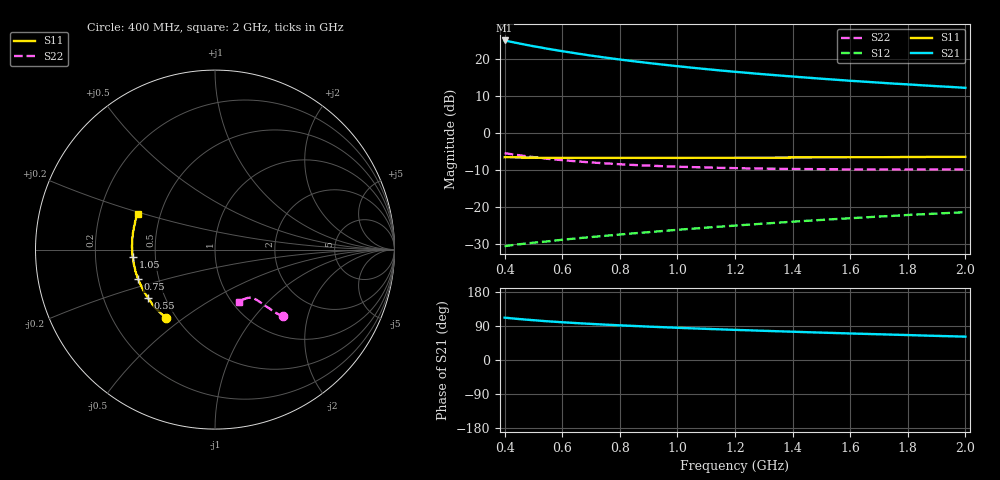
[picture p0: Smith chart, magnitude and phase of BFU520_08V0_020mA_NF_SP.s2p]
! Filename:  P:\Prog\Test\Noise\ATS_data\Testdata_Net\06 Compressed Noise after Statistics\BFU520_APG2013_37_A05_08p0V_020mA_NF_CM01_D.sf
! Date/Time: Fri 26/Apr/2013 14:13:13
! BFU520_APG2013_37_A05_08p0V_1to20mA_NF_CM01_Bias8_R.sf
! Noise Parameter Data File
! BFU520_APG2013_37_A05_08p0V_1to20mA_NF_CM01
! Date/time: Tue Apr 23 18:16:22 2013
! VAR V_out= 8.000000
! VAR I_out= 20.000000
! VAR V_in= 0.822000
! VAR I_in= 0.222650
! Device data file deembeded for feedlines and parallel
! Original file: \06 Compressed Noise after Statistics\BFU520_APG2013_37_A05_08p0V_020mA_NF_CM01_R.sf
! Feed-files: PR047V01_250413_Feed1.s2p, PR047V01_250413_Feed2.s2p
! Parallel-file: PR047V01_250413_Par.s2p
# MHz S MA R 50
!  Freq-MHz  S11-mag  S11-arg  S21-mag  S21-arg  S12-mag  S12-arg  S22-mag  S22-arg
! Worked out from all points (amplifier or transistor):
!   37 points, 400 MHz to 2 GHz, reference 50 ohm
!   highest |S21| = 25.0 dB at 400 MHz (marker M1)
!   |S21| within 3 dB of that: start of sweep to 608.5 MHz
!   unconditionally stable (mu >= 1): 1.379 GHz to end of sweep
!   at 500 MHz: K = 0.66, MSG = 26.6 dB, |S12| = -29.7 dB
!   at 1.1 GHz: K = 0.95, MSG = 21.4 dB, |S12| = -25.6 dB
!   at 2 GHz: K = 1.06, MAG = 15.4 dB, |S12| = -21.5 dB
!   lowest NFmin = 1.18 dB at 480 MHz
!   S11 on the Smith chart (normalised r, x): 400 MHz: 0.44, -0.43; 550 MHz: 0.40, -0.28; 750 MHz: 0.38, -0.16; 1.05 GHz: 0.37, -0.04; 2 GHz: 0.37, +0.19
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400  0.4683 -125.9  17.79 111.7  0.02935 54.7  0.5314 -44.5
433  0.4659 -130.4  16.72 109.3  0.03053 54.5  0.5088 -45.4
460  0.4645 -133.8  15.93 107.5  0.03144 54.3  0.493 -46.0
480  0.4643 -136.2  15.39 106.2  0.03207 54.3  0.4809 -46.4
500  0.4632 -138.5  14.88 105.0  0.0327 54.4  0.4708 -46.7
550  0.4604 -143.9  13.74 102.1  0.03412 54.7  0.4456 -47.3
600  0.4596 -148.2  12.75 99.6  0.03581 55.0  0.4282 -47.9
650  0.4594 -152.3  11.88 97.3  0.03744 55.3  0.412 -48.5
700  0.4588 -155.7  11.11 95.3  0.03897 55.8  0.3984 -48.8
750  0.4586 -159.3  10.43 93.3  0.04059 56.2  0.3872 -49.3
800  0.459 -162.1  9.831 91.5  0.04219 56.7  0.3767 -49.8
850  0.4593 -165.0  9.297 89.8  0.04383 57.0  0.3679 -50.1
900  0.4584 -167.9  8.81 88.1  0.04544 57.5  0.3608 -50.6
950  0.4599 -170.2  8.38 86.6  0.04711 57.9  0.3541 -51.0
1050  0.4599 -175.0  7.621 83.5  0.05052 58.5  0.3445 -52.1
1150  0.4607 -179.0  6.984 80.8  0.05396 59.2  0.3366 -53.0
1200  0.4619 179.0  6.706 79.5  0.0557 59.4  0.3335 -53.7
1350  0.4638 173.8  5.99 75.8  0.06104 60.0  0.3265 -55.4
1500  0.4667 168.8  5.408 72.2  0.06648 60.3  0.3226 -57.4
1600  0.4673 165.5  5.071 70.0  0.07004 60.4  0.3209 -58.9
1750  0.4702 161.3  4.645 66.8  0.07553 60.4  0.319 -61.1
2000  0.4737 155.0  4.067 61.6  0.08446 60.2  0.321 -65.4
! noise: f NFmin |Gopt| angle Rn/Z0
400  1.262  0.1837  -170.2  0.1124
460  1.203  0.2179  -172.4  0.0929
600  1.246  0.1924  -162  0.1108
800  1.258  0.2203  -166.4  0.098
1000  1.27  0.2341  -165  0.0955
1200  1.302  0.2319  -160.4  0.1038
1400  1.341  0.2443  -158.3  0.1024
1600  1.363  0.2607  -150.1  0.109
1800  1.367  0.2706  -151.1  0.1041
2000  1.414  0.2769  -146.2  0.1161
